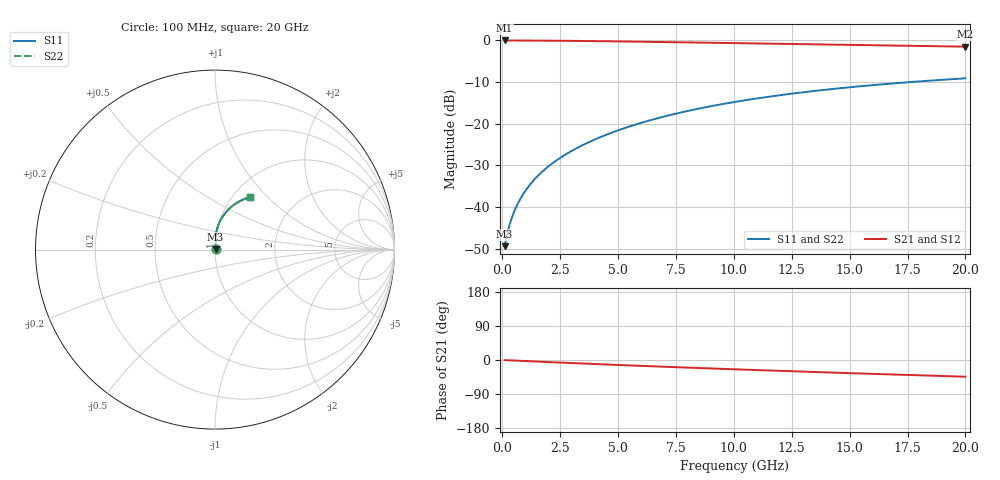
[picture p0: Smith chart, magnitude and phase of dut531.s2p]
! Touchstone file exported from HFSS 2024.1.0
!  File:  C:/UserFiles/LocalFiles/RDL_TSV_Batchsim/temp_RDL_bottom_531_1779688512.aedt
!  Generated:  01:57:27 PM May 25, 2026
!  Design:  RDL_bottom
!  Project:  temp_RDL_bottom_531_1779688512
!  Setup:  Setup1
!  Solution:  Sweep
! Variables:
!  dtsv = 10.80580581um
!  hbump = 3um
!  htsv = 58.2um
!  ldown = 657.72um
!  lrdl = 100um
!  p = 40
!  p1 = 50.1um
!  rhole = 1um
!  t = 450um
!  tdown = 3.39um
!  trdl = 3.915915916um
!  wdown = 25.88um
!  wrdl = 20um
# GHz S MA R 50.000000
! Terminal data exported
! Port[1] = RDL1_T1
! Port[2] = RDL1_T2
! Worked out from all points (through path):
!   200 points, 100 MHz to 20 GHz, reference 50 ohm
!   highest |S21| = -0.03 dB at 100 MHz (marker M1); lowest = -1.5 dB at 20 GHz (marker M2)
!   group delay of S21, straight-line fit = 6.05 ps
!   lowest |S11| = -49.4 dB at 100 MHz (marker M3), VSWR 1.01, Z = 50.3 + j0.178 ohm
!   |S11| at or under -10 dB: start of sweep to 17.63 GHz
!   |S22| runs from -49.4 to -9.1 dB; largest |S21 - S12| = 4.6e-15
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0.1  0.003399 31.4  0.9971 -0.3  0.9971 -0.3  0.003399 31.4
! Gamma 0 0 0 0
! Port Impedance 50 0 50 0
0.2  0.004611 48.1  0.9969 -0.6  0.9969 -0.6  0.004611 48.1
0.3  0.005948 56.8  0.9966 -0.9  0.9966 -0.9  0.005948 56.8
0.4  0.007298 62.4  0.9964 -1.1  0.9964 -1.1  0.007298 62.4
0.5  0.008657 66.4  0.9962 -1.4  0.9962 -1.4  0.008658 66.4
0.6  0.01003 69.5  0.9959 -1.7  0.9959 -1.7  0.01003 69.5
0.8  0.01284 74.0  0.9955 -2.2  0.9955 -2.2  0.01284 73.9
1  0.01572 77.0  0.995 -2.8  0.995 -2.8  0.01572 77.0
1.2  0.01866 79.2  0.9945 -3.3  0.9945 -3.3  0.01866 79.2
1.7  0.02623 82.7  0.9928 -4.6  0.9928 -4.6  0.02623 82.7
2.2  0.0341 84.7  0.9905 -6.0  0.9905 -6.0  0.03409 84.7
2.8  0.04392 86.1  0.9873 -7.6  0.9873 -7.6  0.0439 86.0
3.5  0.05589 86.8  0.9828 -9.4  0.9828 -9.4  0.05587 86.7
4.2  0.0684 86.9  0.9777 -11.2  0.9777 -11.2  0.06836 86.8
5  0.08326 86.4  0.9714 -13.1  0.9714 -13.1  0.08321 86.4
6.8  0.1182 84.1  0.9558 -17.4  0.9558 -17.4  0.1181 84.0
8.4  0.1501 81.1  0.9414 -21.0  0.9414 -21.0  0.1499 81.0
10.1  0.1837 77.5  0.9261 -24.7  0.9261 -24.7  0.1835 77.4
11.7  0.2145 74.0  0.9118 -28.1  0.9118 -28.1  0.2142 73.9
13.4  0.2458 70.2  0.8967 -31.5  0.8967 -31.5  0.2454 70.1
16.7  0.3017 63.1  0.8681 -38.0  0.8681 -38.0  0.3012 63.1
20  0.3506 56.5  0.8403 -44.1  0.8403 -44.1  0.35 56.4
